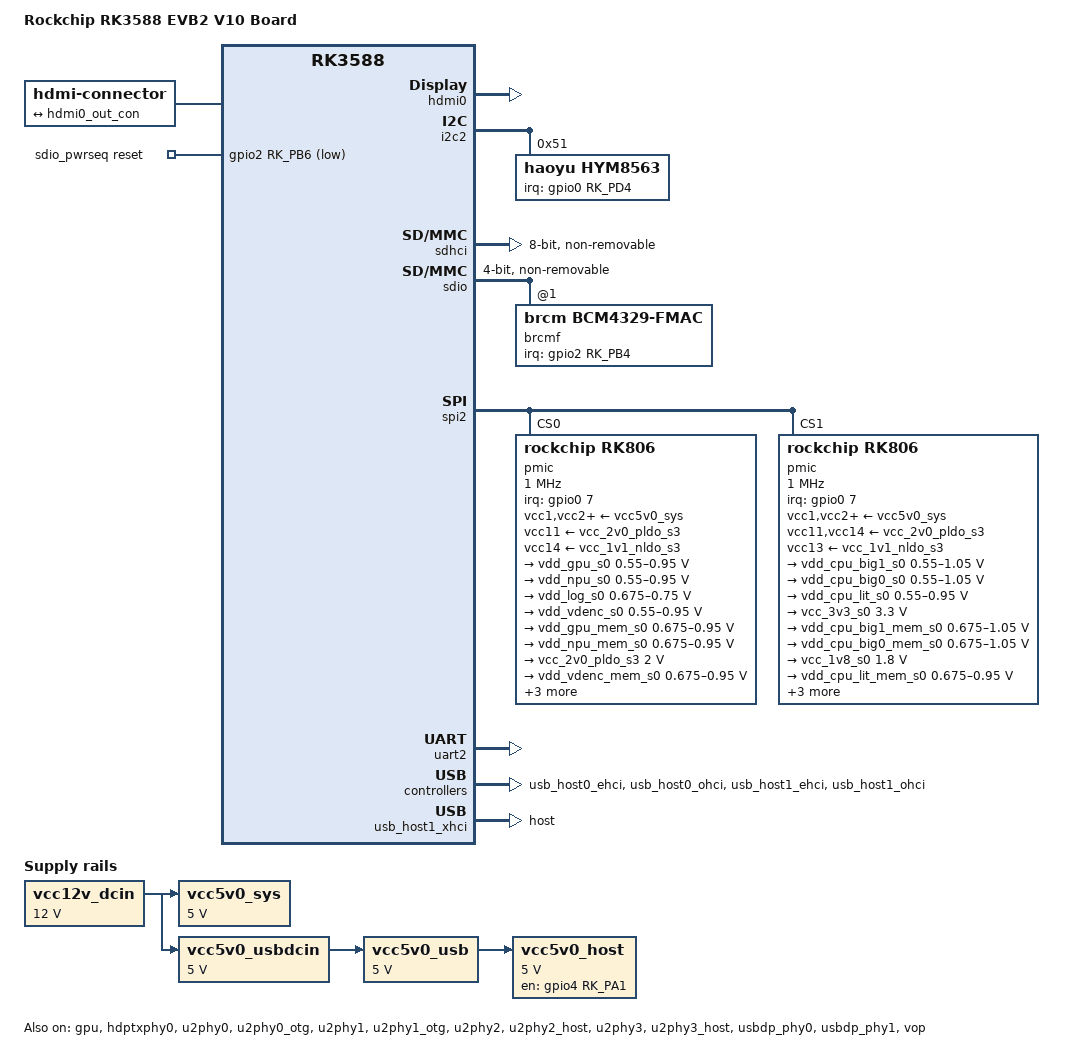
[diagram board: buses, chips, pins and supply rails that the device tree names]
// SPDX-License-Identifier: (GPL-2.0+ OR MIT)
/*
 * Copyright (c) 2025 Rockchip Electronics Co., Ltd.
 *
 */

/dts-v1/;

#include <dt-bindings/clock/rockchip,rk3588-cru.h>
#include <dt-bindings/gpio/gpio.h>
#include <dt-bindings/pinctrl/rockchip.h>
#include <dt-bindings/soc/rockchip,vop2.h>
#include "rk3588.dtsi"

/ {
	model = "Rockchip RK3588 EVB2 V10 Board";
	compatible = "rockchip,rk3588-evb2-v10", "rockchip,rk3588";

	aliases {
		mmc0 = &sdhci;
		serial2 = &uart2;
	};

	chosen {
		stdout-path = "serial2:1500000n8";
	};

	hdmi-con {
		compatible = "hdmi-connector";
		type = "a";

		port {
			hdmi_con_in: endpoint {
				remote-endpoint = <&hdmi0_out_con>;
			};
		};
	};

	sdio_pwrseq: sdio-pwrseq {
		compatible = "mmc-pwrseq-simple";
		clocks = <&hym8563>;
		clock-names = "ext_clock";
		pinctrl-names = "default";
		pinctrl-0 = <&wifi_enable_h>;
		/*
		 * On the module itself this is one of these (depending
		 * on the actual card populated):
		 * - SDIO_RESET_L_WL_REG_ON
		 * - PDN (power down when low)
		 */
		post-power-on-delay-ms = <200>;
		reset-gpios = <&gpio2 RK_PB6 GPIO_ACTIVE_LOW>;
	};

	vcc12v_dcin: vcc12v-dcin-regulator {
		compatible = "regulator-fixed";
		regulator-name = "vcc12v_dcin";
		regulator-always-on;
		regulator-boot-on;
		regulator-min-microvolt = <12000000>;
		regulator-max-microvolt = <12000000>;
	};

	vcc5v0_host: vcc5v0-host {
		compatible = "regulator-fixed";
		regulator-name = "vcc5v0_host";
		regulator-boot-on;
		regulator-always-on;
		regulator-min-microvolt = <5000000>;
		regulator-max-microvolt = <5000000>;
		enable-active-high;
		gpio = <&gpio4 RK_PA1 GPIO_ACTIVE_HIGH>;
		vin-supply = <&vcc5v0_usb>;
		pinctrl-names = "default";
		pinctrl-0 = <&vcc5v0_host_en>;
	};

	vcc5v0_usb: regulator-vcc5v0-usb {
		compatible = "regulator-fixed";
		regulator-name = "vcc5v0_usb";
		regulator-always-on;
		regulator-boot-on;
		regulator-min-microvolt = <5000000>;
		regulator-max-microvolt = <5000000>;
		vin-supply = <&vcc5v0_usbdcin>;
	};

	vcc5v0_sys: vcc5v0-sys-regulator {
		compatible = "regulator-fixed";
		regulator-name = "vcc5v0_sys";
		regulator-always-on;
		regulator-boot-on;
		regulator-min-microvolt = <5000000>;
		regulator-max-microvolt = <5000000>;
		vin-supply = <&vcc12v_dcin>;
	};

	vcc5v0_usbdcin: regulator-vcc5v0-usbdcin {
		compatible = "regulator-fixed";
		regulator-name = "vcc5v0_usbdcin";
		regulator-always-on;
		regulator-boot-on;
		regulator-min-microvolt = <5000000>;
		regulator-max-microvolt = <5000000>;
		vin-supply = <&vcc12v_dcin>;
	};
};

&gpu {
	mali-supply = <&vdd_gpu_s0>;
	sram-supply = <&vdd_gpu_mem_s0>;
	status = "okay";
};

&hdmi0 {
	status = "okay";
};

&hdmi0_in {
	hdmi0_in_vp0: endpoint {
		remote-endpoint = <&vp0_out_hdmi0>;
	};
};

&hdmi0_out {
	hdmi0_out_con: endpoint {
		remote-endpoint = <&hdmi_con_in>;
	};
};

&hdptxphy0 {
	status = "okay";
};

&i2c2 {
	status = "okay";

	hym8563: rtc@51 {
		compatible = "haoyu,hym8563";
		reg = <0x51>;
		#clock-cells = <0>;
		clock-output-names = "hym8563";
		interrupt-parent = <&gpio0>;
		interrupts = <RK_PD4 IRQ_TYPE_LEVEL_LOW>;
		pinctrl-names = "default";
		pinctrl-0 = <&hym8563_int>;
		wakeup-source;
	};
};

&pd_gpu {
	domain-supply = <&vdd_gpu_s0>;
};

&pinctrl {
	hym8563 {
		hym8563_int: hym8563-int {
			rockchip,pins = <0 RK_PD4 RK_FUNC_GPIO &pcfg_pull_up>;
		};
	};

	usb {
		vcc5v0_host_en: vcc5v0-host-en {
			rockchip,pins = <4 RK_PA1 RK_FUNC_GPIO &pcfg_pull_none>;
		};
	};

	wifi {
		wifi_enable_h: wifi-enable-h {
			rockchip,pins = <2 RK_PB6 RK_FUNC_GPIO &pcfg_pull_up>;
		};

		wifi_host_wake_irq: wifi-host-wake-irq {
			rockchip,pins = <2 RK_PB4 RK_FUNC_GPIO &pcfg_pull_down>;
		};
	};

};

&sdhci {
	bus-width = <8>;
	max-frequency = <200000000>;
	mmc-hs400-1_8v;
	mmc-hs400-enhanced-strobe;
	non-removable;
	no-sd;
	no-sdio;
	status = "okay";
};

&sdio {
	#address-cells = <1>;
	#size-cells = <0>;
	pinctrl-names = "default";
	pinctrl-0 = <&sdiom0_pins>;
	bus-width = <4>;
	cap-sd-highspeed;
	cap-sdio-irq;
	disable-wp;
	keep-power-in-suspend;
	max-frequency = <150000000>;
	mmc-pwrseq = <&sdio_pwrseq>;
	no-mmc;
	non-removable;
	no-sd;
	sd-uhs-sdr104;
	status = "okay";

	brcmf: wifi@1 {
		compatible = "brcm,bcm4329-fmac";
		reg = <1>;
		interrupt-parent = <&gpio2>;
		interrupts = <RK_PB4 IRQ_TYPE_LEVEL_HIGH>;
		interrupt-names = "host-wake";
		pinctrl-0 = <&wifi_host_wake_irq>;
		pinctrl-names = "default";
	};
};

&spi2 {
	status = "okay";
	assigned-clocks = <&cru CLK_SPI2>;
	assigned-clock-rates = <200000000>;
	num-cs = <2>;

	pmic@0 {
		compatible = "rockchip,rk806";
		reg = <0x0>;
		#gpio-cells = <2>;
		gpio-controller;
		interrupt-parent = <&gpio0>;
		interrupts = <7 IRQ_TYPE_LEVEL_LOW>;
		pinctrl-0 = <&pmic_pins>, <&rk806_dvs1_null>,
			    <&rk806_dvs2_null>, <&rk806_dvs3_null>;
		pinctrl-names = "default";
		spi-max-frequency = <1000000>;
		system-power-controller;

		vcc1-supply = <&vcc5v0_sys>;
		vcc2-supply = <&vcc5v0_sys>;
		vcc3-supply = <&vcc5v0_sys>;
		vcc4-supply = <&vcc5v0_sys>;
		vcc5-supply = <&vcc5v0_sys>;
		vcc6-supply = <&vcc5v0_sys>;
		vcc7-supply = <&vcc5v0_sys>;
		vcc8-supply = <&vcc5v0_sys>;
		vcc9-supply = <&vcc5v0_sys>;
		vcc10-supply = <&vcc5v0_sys>;
		vcc11-supply = <&vcc_2v0_pldo_s3>;
		vcc12-supply = <&vcc5v0_sys>;
		vcc13-supply = <&vcc5v0_sys>;
		vcc14-supply = <&vcc_1v1_nldo_s3>;
		vcca-supply = <&vcc5v0_sys>;

		rk806_dvs1_null: dvs1-null-pins {
			pins = "gpio_pwrctrl1";
			function = "pin_fun0";
		};

		rk806_dvs2_null: dvs2-null-pins {
			pins = "gpio_pwrctrl2";
			function = "pin_fun0";
		};

		rk806_dvs3_null: dvs3-null-pins {
			pins = "gpio_pwrctrl3";
			function = "pin_fun0";
		};


		regulators {
			vdd_gpu_s0: dcdc-reg1 {
				/* regulator coupling requires always-on */
				regulator-always-on;
				regulator-boot-on;
				regulator-min-microvolt = <550000>;
				regulator-max-microvolt = <950000>;
				regulator-ramp-delay = <12500>;
				regulator-name = "vdd_gpu_s0";
				regulator-enable-ramp-delay = <400>;
				regulator-coupled-with = <&vdd_gpu_mem_s0>;
				regulator-coupled-max-spread = <10000>;
				regulator-state-mem {
					regulator-off-in-suspend;
				};
			};

			vdd_npu_s0: dcdc-reg2 {
				regulator-always-on;
				regulator-boot-on;
				regulator-min-microvolt = <550000>;
				regulator-max-microvolt = <950000>;
				regulator-ramp-delay = <12500>;
				regulator-name = "vdd_npu_s0";
				regulator-state-mem {
					regulator-off-in-suspend;
				};
			};

			vdd_log_s0: dcdc-reg3 {
				regulator-always-on;
				regulator-boot-on;
				regulator-min-microvolt = <675000>;
				regulator-max-microvolt = <750000>;
				regulator-ramp-delay = <12500>;
				regulator-name = "vdd_log_s0";
				regulator-state-mem {
					regulator-off-in-suspend;
					regulator-suspend-microvolt = <750000>;
				};
			};

			vdd_vdenc_s0: dcdc-reg4 {
				regulator-always-on;
				regulator-boot-on;
				regulator-min-microvolt = <550000>;
				regulator-max-microvolt = <950000>;
				regulator-ramp-delay = <12500>;
				regulator-name = "vdd_vdenc_s0";
				regulator-state-mem {
					regulator-off-in-suspend;
				};

			};

			vdd_gpu_mem_s0: dcdc-reg5 {
				/* regulator coupling requires always-on */
				regulator-always-on;
				regulator-boot-on;
				regulator-min-microvolt = <675000>;
				regulator-max-microvolt = <950000>;
				regulator-ramp-delay = <12500>;
				regulator-enable-ramp-delay = <400>;
				regulator-name = "vdd_gpu_mem_s0";
				regulator-coupled-with = <&vdd_gpu_s0>;
				regulator-coupled-max-spread = <10000>;
				regulator-state-mem {
					regulator-off-in-suspend;
				};

			};

			vdd_npu_mem_s0: dcdc-reg6 {
				regulator-always-on;
				regulator-boot-on;
				regulator-min-microvolt = <675000>;
				regulator-max-microvolt = <950000>;
				regulator-ramp-delay = <12500>;
				regulator-name = "vdd_npu_mem_s0";
				regulator-state-mem {
					regulator-off-in-suspend;
				};

			};

			vcc_2v0_pldo_s3: dcdc-reg7 {
				regulator-always-on;
				regulator-boot-on;
				regulator-min-microvolt = <2000000>;
				regulator-max-microvolt = <2000000>;
				regulator-ramp-delay = <12500>;
				regulator-name = "vdd_2v0_pldo_s3";
				regulator-state-mem {
					regulator-on-in-suspend;
					regulator-suspend-microvolt = <2000000>;
				};
			};

			vdd_vdenc_mem_s0: dcdc-reg8 {
				regulator-always-on;
				regulator-boot-on;
				regulator-min-microvolt = <675000>;
				regulator-max-microvolt = <950000>;
				regulator-ramp-delay = <12500>;
				regulator-name = "vdd_vdenc_mem_s0";
				regulator-state-mem {
					regulator-off-in-suspend;
				};
			};

			vdd2_ddr_s3: dcdc-reg9 {
				regulator-always-on;
				regulator-boot-on;
				regulator-name = "vdd2_ddr_s3";
				regulator-state-mem {
					regulator-on-in-suspend;
				};
			};

			vcc_1v1_nldo_s3: dcdc-reg10 {
				regulator-always-on;
				regulator-boot-on;
				regulator-min-microvolt = <1100000>;
				regulator-max-microvolt = <1100000>;
				regulator-ramp-delay = <12500>;
				regulator-name = "vcc_1v1_nldo_s3";
				regulator-state-mem {
					regulator-on-in-suspend;
					regulator-suspend-microvolt = <1100000>;
				};
			};

			avcc_1v8_s0: pldo-reg1 {
				regulator-always-on;
				regulator-boot-on;
				regulator-min-microvolt = <1800000>;
				regulator-max-microvolt = <1800000>;
				regulator-ramp-delay = <12500>;
				regulator-name = "avcc_1v8_s0";
				regulator-state-mem {
					regulator-off-in-suspend;
				};
			};

			vdd1_1v8_ddr_s3: pldo-reg2 {
				regulator-always-on;
				regulator-boot-on;
				regulator-min-microvolt = <1800000>;
				regulator-max-microvolt = <1800000>;
				regulator-ramp-delay = <12500>;
				regulator-name = "vdd1_1v8_ddr_s3";
				regulator-state-mem {
					regulator-on-in-suspend;
					regulator-suspend-microvolt = <1800000>;
				};
			};

			avcc_1v8_codec_s0: pldo-reg3 {
				regulator-always-on;
				regulator-boot-on;
				regulator-min-microvolt = <1800000>;
				regulator-max-microvolt = <1800000>;
				regulator-ramp-delay = <12500>;
				regulator-name = "avcc_1v8_codec_s0";
				regulator-state-mem {
					regulator-off-in-suspend;
				};
			};

			vcc_3v3_s3: pldo-reg4 {
				regulator-always-on;
				regulator-boot-on;
				regulator-min-microvolt = <3300000>;
				regulator-max-microvolt = <3300000>;
				regulator-ramp-delay = <12500>;
				regulator-name = "vcc_3v3_s3";
				regulator-state-mem {
					regulator-on-in-suspend;
					regulator-suspend-microvolt = <3300000>;
				};
			};

			vccio_sd_s0: pldo-reg5 {
				regulator-always-on;
				regulator-boot-on;
				regulator-min-microvolt = <1800000>;
				regulator-max-microvolt = <3300000>;
				regulator-ramp-delay = <12500>;
				regulator-name = "vccio_sd_s0";
				regulator-state-mem {
					regulator-off-in-suspend;
				};
			};

			vccio_1v8_s3: pldo-reg6 {
				regulator-always-on;
				regulator-boot-on;
				regulator-min-microvolt = <1800000>;
				regulator-max-microvolt = <1800000>;
				regulator-ramp-delay = <12500>;
				regulator-name = "vccio_1v8_s3";
				regulator-state-mem {
					regulator-on-in-suspend;
					regulator-suspend-microvolt = <1800000>;
				};
			};

			vdd_0v75_s3: nldo-reg1 {
				regulator-always-on;
				regulator-boot-on;
				regulator-min-microvolt = <750000>;
				regulator-max-microvolt = <750000>;
				regulator-ramp-delay = <12500>;
				regulator-name = "vdd_0v75_s3";
				regulator-state-mem {
					regulator-on-in-suspend;
					regulator-suspend-microvolt = <750000>;
				};
			};

			vdd2l_0v9_ddr_s3: nldo-reg2 {
				regulator-always-on;
				regulator-boot-on;
				regulator-min-microvolt = <900000>;
				regulator-max-microvolt = <900000>;
				regulator-name = "vdd2l_0v9_ddr_s3";
				regulator-state-mem {
					regulator-on-in-suspend;
					regulator-suspend-microvolt = <900000>;
				};
			};

			vdd_0v75_hdmi_edp_s0: nldo-reg3 {
				regulator-always-on;
				regulator-boot-on;
				regulator-min-microvolt = <750000>;
				regulator-max-microvolt = <750000>;
				regulator-name = "vdd_0v75_hdmi_edp_s0";
				regulator-state-mem {
					regulator-off-in-suspend;
				};
			};

			avdd_0v75_s0: nldo-reg4 {
				regulator-always-on;
				regulator-boot-on;
				regulator-min-microvolt = <750000>;
				regulator-max-microvolt = <750000>;
				regulator-name = "avdd_0v75_s0";
				regulator-state-mem {
					regulator-off-in-suspend;
				};
			};

			vdd_0v85_s0: nldo-reg5 {
				regulator-always-on;
				regulator-boot-on;
				regulator-min-microvolt = <850000>;
				regulator-max-microvolt = <850000>;
				regulator-name = "vdd_0v85_s0";
				regulator-state-mem {
					regulator-off-in-suspend;
				};
			};
		};
	};

	pmic@1 {
		compatible = "rockchip,rk806";
		reg = <0x01>;
		#gpio-cells = <2>;
		gpio-controller;
		interrupt-parent = <&gpio0>;
		interrupts = <7 IRQ_TYPE_LEVEL_LOW>;
		pinctrl-0 = <&rk806_slave_dvs1_null>, <&rk806_slave_dvs2_null>,
			    <&rk806_slave_dvs3_null>;
		pinctrl-names = "default";
		spi-max-frequency = <1000000>;

		vcc1-supply = <&vcc5v0_sys>;
		vcc2-supply = <&vcc5v0_sys>;
		vcc3-supply = <&vcc5v0_sys>;
		vcc4-supply = <&vcc5v0_sys>;
		vcc5-supply = <&vcc5v0_sys>;
		vcc6-supply = <&vcc5v0_sys>;
		vcc7-supply = <&vcc5v0_sys>;
		vcc8-supply = <&vcc5v0_sys>;
		vcc9-supply = <&vcc5v0_sys>;
		vcc10-supply = <&vcc5v0_sys>;
		vcc11-supply = <&vcc_2v0_pldo_s3>;
		vcc12-supply = <&vcc5v0_sys>;
		vcc13-supply = <&vcc_1v1_nldo_s3>;
		vcc14-supply = <&vcc_2v0_pldo_s3>;
		vcca-supply = <&vcc5v0_sys>;

		rk806_slave_dvs1_null: dvs1-null-pins {
			pins = "gpio_pwrctrl1";
			function = "pin_fun0";
		};

		rk806_slave_dvs2_null: dvs2-null-pins {
			pins = "gpio_pwrctrl2";
			function = "pin_fun0";
		};

		rk806_slave_dvs3_null: dvs3-null-pins {
			pins = "gpio_pwrctrl3";
			function = "pin_fun0";
		};

		regulators {
			vdd_cpu_big1_s0: dcdc-reg1 {
				regulator-always-on;
				regulator-boot-on;
				regulator-coupled-with = <&vdd_cpu_big1_mem_s0>;
				regulator-coupled-max-spread = <10000>;
				regulator-min-microvolt = <550000>;
				regulator-max-microvolt = <1050000>;
				regulator-ramp-delay = <12500>;
				regulator-name = "vdd_cpu_big1_s0";
				regulator-state-mem {
					regulator-off-in-suspend;
				};
			};

			vdd_cpu_big0_s0: dcdc-reg2 {
				regulator-always-on;
				regulator-boot-on;
				regulator-coupled-with = <&vdd_cpu_big0_mem_s0>;
				regulator-coupled-max-spread = <10000>;
				regulator-min-microvolt = <550000>;
				regulator-max-microvolt = <1050000>;
				regulator-ramp-delay = <12500>;
				regulator-name = "vdd_cpu_big0_s0";
				regulator-state-mem {
					regulator-off-in-suspend;
				};
			};

			vdd_cpu_lit_s0: dcdc-reg3 {
				regulator-always-on;
				regulator-boot-on;
				regulator-coupled-with = <&vdd_cpu_lit_mem_s0>;
				regulator-coupled-max-spread = <10000>;
				regulator-min-microvolt = <550000>;
				regulator-max-microvolt = <950000>;
				regulator-ramp-delay = <12500>;
				regulator-name = "vdd_cpu_lit_s0";
				regulator-state-mem {
					regulator-off-in-suspend;
				};
			};

			vcc_3v3_s0: dcdc-reg4 {
				regulator-always-on;
				regulator-boot-on;
				regulator-min-microvolt = <3300000>;
				regulator-max-microvolt = <3300000>;
				regulator-ramp-delay = <12500>;
				regulator-name = "vcc_3v3_s0";
				regulator-state-mem {
					regulator-off-in-suspend;
				};
			};

			vdd_cpu_big1_mem_s0: dcdc-reg5 {
				regulator-always-on;
				regulator-boot-on;
				regulator-coupled-with = <&vdd_cpu_big1_s0>;
				regulator-coupled-max-spread = <10000>;
				regulator-min-microvolt = <675000>;
				regulator-max-microvolt = <1050000>;
				regulator-ramp-delay = <12500>;
				regulator-name = "vdd_cpu_big1_mem_s0";
				regulator-state-mem {
					regulator-off-in-suspend;
				};
			};


			vdd_cpu_big0_mem_s0: dcdc-reg6 {
				regulator-always-on;
				regulator-boot-on;
				regulator-coupled-with = <&vdd_cpu_big0_s0>;
				regulator-coupled-max-spread = <10000>;
				regulator-min-microvolt = <675000>;
				regulator-max-microvolt = <1050000>;
				regulator-ramp-delay = <12500>;
				regulator-name = "vdd_cpu_big0_mem_s0";
				regulator-state-mem {
					regulator-off-in-suspend;
				};
			};

			vcc_1v8_s0: dcdc-reg7 {
				regulator-always-on;
				regulator-boot-on;
				regulator-min-microvolt = <1800000>;
				regulator-max-microvolt = <1800000>;
				regulator-ramp-delay = <12500>;
				regulator-name = "vcc_1v8_s0";
				regulator-state-mem {
					regulator-off-in-suspend;
				};
			};

			vdd_cpu_lit_mem_s0: dcdc-reg8 {
				regulator-always-on;
				regulator-boot-on;
				regulator-coupled-with = <&vdd_cpu_lit_s0>;
				regulator-coupled-max-spread = <10000>;
				regulator-min-microvolt = <675000>;
				regulator-max-microvolt = <950000>;
				regulator-ramp-delay = <12500>;
				regulator-name = "vdd_cpu_lit_mem_s0";
				regulator-state-mem {
					regulator-off-in-suspend;
				};
			};

			vddq_ddr_s0: dcdc-reg9 {
				regulator-always-on;
				regulator-boot-on;
				regulator-name = "vddq_ddr_s0";
				regulator-state-mem {
					regulator-off-in-suspend;
				};
			};

			vdd_ddr_s0: dcdc-reg10 {
				regulator-always-on;
				regulator-boot-on;
				regulator-min-microvolt = <675000>;
				regulator-max-microvolt = <900000>;
				regulator-ramp-delay = <12500>;
				regulator-name = "vdd_ddr_s0";
				regulator-state-mem {
					regulator-off-in-suspend;
				};
			};

			vcc_1v8_cam_s0: pldo-reg1 {
				regulator-always-on;
				regulator-boot-on;
				regulator-min-microvolt = <1800000>;
				regulator-max-microvolt = <1800000>;
				regulator-ramp-delay = <12500>;
				regulator-name = "vcc_1v8_cam_s0";
				regulator-state-mem {
					regulator-off-in-suspend;
				};
			};

			avdd1v8_ddr_pll_s0: pldo-reg2 {
				regulator-always-on;
				regulator-boot-on;
				regulator-min-microvolt = <1800000>;
				regulator-max-microvolt = <1800000>;
				regulator-ramp-delay = <12500>;
				regulator-name = "avdd1v8_ddr_pll_s0";
				regulator-state-mem {
					regulator-off-in-suspend;
				};
			};

			vdd_1v8_pll_s0: pldo-reg3 {
				regulator-always-on;
				regulator-boot-on;
				regulator-min-microvolt = <1800000>;
				regulator-max-microvolt = <1800000>;
				regulator-ramp-delay = <12500>;
				regulator-name = "vdd_1v8_pll_s0";
				regulator-state-mem {
					regulator-off-in-suspend;
				};
			};

			vcc_3v3_sd_s0: pldo-reg4 {
				regulator-always-on;
				regulator-boot-on;
				regulator-min-microvolt = <3300000>;
				regulator-max-microvolt = <3300000>;
				regulator-ramp-delay = <12500>;
				regulator-name = "vcc_3v3_sd_s0";
				regulator-state-mem {
					regulator-off-in-suspend;
				};
			};

			vcc_2v8_cam_s0: pldo-reg5 {
				regulator-always-on;
				regulator-boot-on;
				regulator-min-microvolt = <2800000>;
				regulator-max-microvolt = <2800000>;
				regulator-ramp-delay = <12500>;
				regulator-name = "vcc_2v8_cam_s0";
				regulator-state-mem {
					regulator-off-in-suspend;
				};
			};

			pldo6_s3: pldo-reg6 {
				regulator-always-on;
				regulator-boot-on;
				regulator-min-microvolt = <1800000>;
				regulator-max-microvolt = <1800000>;
				regulator-name = "pldo6_s3";
				regulator-state-mem {
					regulator-on-in-suspend;
					regulator-suspend-microvolt = <1800000>;
				};
			};

			vdd_0v75_pll_s0: nldo-reg1 {
				regulator-always-on;
				regulator-boot-on;
				regulator-min-microvolt = <750000>;
				regulator-max-microvolt = <750000>;
				regulator-ramp-delay = <12500>;
				regulator-name = "vdd_0v75_pll_s0";
				regulator-state-mem {
					regulator-off-in-suspend;
				};
			};

			vdd_ddr_pll_s0: nldo-reg2 {
				regulator-always-on;
				regulator-boot-on;
				regulator-min-microvolt = <850000>;
				regulator-max-microvolt = <850000>;
				regulator-name = "vdd_ddr_pll_s0";
				regulator-state-mem {
					regulator-off-in-suspend;
				};
			};

			avdd_0v85_s0: nldo-reg3 {
				regulator-always-on;
				regulator-boot-on;
				regulator-min-microvolt = <850000>;
				regulator-max-microvolt = <850000>;
				regulator-ramp-delay = <12500>;
				regulator-name = "avdd_0v85_s0";
				regulator-state-mem {
					regulator-off-in-suspend;
				};
			};

			avdd_1v2_cam_s0: nldo-reg4 {
				regulator-always-on;
				regulator-boot-on;
				regulator-min-microvolt = <1200000>;
				regulator-max-microvolt = <1200000>;
				regulator-ramp-delay = <12500>;
				regulator-name = "avdd_1v2_cam_s0";
				regulator-state-mem {
					regulator-off-in-suspend;
				};
			};

			avdd_1v2_s0: nldo-reg5 {
				regulator-always-on;
				regulator-boot-on;
				regulator-min-microvolt = <1200000>;
				regulator-max-microvolt = <1200000>;
				regulator-ramp-delay = <12500>;
				regulator-name = "avdd_1v2_s0";
				regulator-state-mem {
					regulator-off-in-suspend;
				};
			};
		};
	};
};

&u2phy0 {
	status = "okay";
};

&u2phy0_otg {
	phy-supply = <&vcc5v0_host>;
	status = "okay";
};

&u2phy1 {
	status = "okay";
};

&u2phy1_otg {
	phy-supply = <&vcc5v0_host>;
	status = "okay";
};

&u2phy2 {
	status = "okay";
};

&u2phy2_host {
	phy-supply = <&vcc5v0_host>;
	status = "okay";
};

&u2phy3 {
	status = "okay";
};

&u2phy3_host {
	phy-supply = <&vcc5v0_host>;
	status = "okay";
};

&uart2 {
	pinctrl-0 = <&uart2m0_xfer>;
	status = "okay";
};

&usbdp_phy0 {
	rockchip,dp-lane-mux = <2 3>;
	status = "okay";
};

&usbdp_phy1 {
	rockchip,dp-lane-mux = <2 3>;
	status = "okay";
};

&usb_host0_ehci {
	status = "okay";
};

&usb_host0_ohci {
	status = "okay";
};

&usb_host1_ehci {
	status = "okay";
};

&usb_host1_ohci {
	status = "okay";
};

&usb_host1_xhci {
	dr_mode = "host";
	status = "okay";
};

&vop {
	status = "okay";
};

&vop_mmu {
	status = "okay";
};

&vp0 {
	vp0_out_hdmi0: endpoint@ROCKCHIP_VOP2_EP_HDMI0 {
		reg = <ROCKCHIP_VOP2_EP_HDMI0>;
		remote-endpoint = <&hdmi0_in_vp0>;
	};
};
